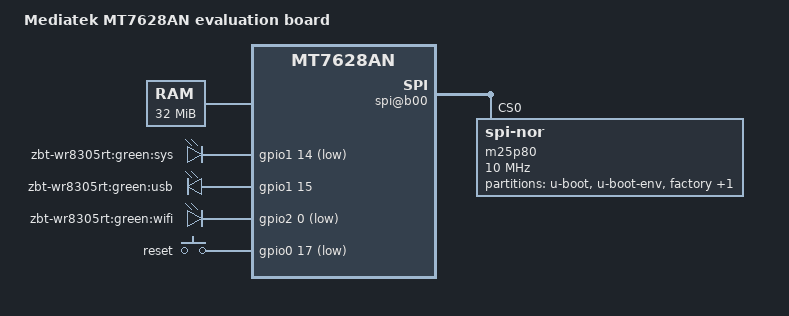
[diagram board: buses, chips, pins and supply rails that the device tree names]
/dts-v1/;

/include/ "mt7628an.dtsi"

/ {
	compatible = "mediatek,mt7628an-eval-board", "mediatek,mt7628an-soc";
	model = "Mediatek MT7628AN evaluation board";

	memory@0 {
		device_type = "memory";
		reg = <0x0 0x2000000>;
	};

	pinctrl {
		state_default: pinctrl0 {
			gpio {
				ralink,group = "i2c", "jtag", "wdt";
				ralink,function = "gpio";
			};
		};
	};

	palmbus@10000000 {
		spi@b00 {
			status = "okay";

			m25p80@0 {
				#address-cells = <1>;
				#size-cells = <1>;
				compatible = "jedec,spi-nor";
				reg = <0 0>;
				linux,modalias = "m25p80", "en25q64";
				spi-max-frequency = <10000000>;
				m25p,chunked-io = <32>;

				partition@0 {
					label = "u-boot";
					reg = <0x0 0x30000>;
					read-only;
				};

				partition@30000 {
					label = "u-boot-env";
					reg = <0x30000 0x10000>;
					read-only;
				};

				factory: partition@40000 {
					label = "factory";
					reg = <0x40000 0x10000>;
					read-only;
				};

				partition@50000 {
					label = "firmware";
					reg = <0x50000 0x1fb0000>;
				};
			};
		};
	};

	         gpio-leds {
                compatible = "gpio-leds";

                sys {
                        label = "zbt-wr8305rt:green:sys";
                        gpios = <&gpio1 14 1>;
                };

                lan {
                        label = "zbt-wr8305rt:green:usb";
                        gpios = <&gpio1 15 0>;
                };

                wifi {
                        label = "zbt-wr8305rt:green:wifi";
                        gpios = <&gpio2 0 1>;
                };
        };

         gpio-keys-polled {
                compatible = "gpio-keys-polled";
                #address-cells = <1>;
                #size-cells = <0>;
                poll-interval = <20>;

                reset {
                        label = "reset";
                        gpios = <&gpio0 17 1>;
                        linux,code = <0x198>;
                };
        };

};
